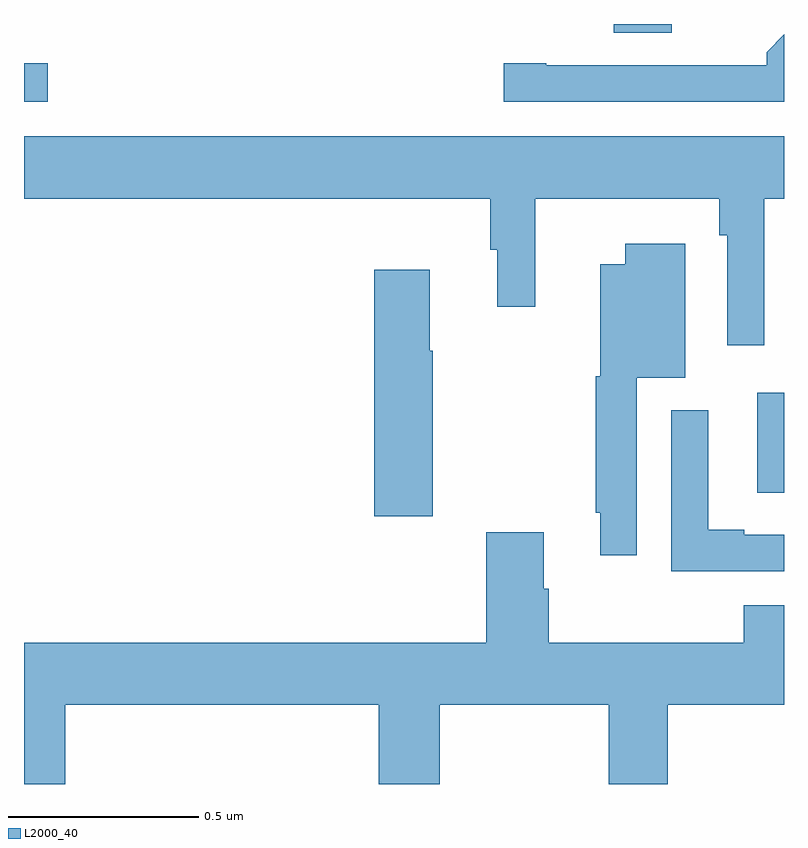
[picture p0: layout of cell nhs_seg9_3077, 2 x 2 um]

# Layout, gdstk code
import gdstk
lib = gdstk.Library(unit=1e-6, precision=1e-09)
def R(c, l, rs):  # rectangles x0, y0, x1, y1
    for r in rs: c.add(gdstk.rectangle(r[:2], r[2:], *l))
def P(c, l, *ps):  # polygons
    for p in ps: c.add(gdstk.Polygon(p, *l))
L2000_40 = (2000, 40)

nhs_seg9_3077 = lib.new_cell('nhs_seg9_3077')
R(nhs_seg9_3077, L2000_40, [(149.93,1242.266,150,1242.529), (148,1243.296,148.063,1243.397), (149.552,1243.477,149.704,1243.5)])
P(nhs_seg9_3077, L2000_40, [(150,1243.473),(149.954,1243.426),(149.954,1243.392),(149.374,1243.392),(149.374,1243.397),(149.262,1243.397),(149.262,1243.296),(150,1243.296)],
  [(149.948,1243.04),(150,1243.04),(150,1243.204),(148,1243.204),(148,1243.04),(149.227,1243.04),(149.227,1242.906),(149.246,1242.906),(149.246,1242.756),(149.346,1242.756),(149.346,1243.04),(149.83,1243.04),(149.83,1242.944),(149.85,1242.944),(149.85,1242.654),(149.948,1242.654)],
  [(149.613,1242.569),(149.74,1242.569),(149.74,1242.922),(149.582,1242.922),(149.582,1242.868),(149.516,1242.868),(149.516,1242.573),(149.505,1242.573),(149.505,1242.214),(149.516,1242.214),(149.516,1242.102),(149.613,1242.102)],
  [(149.076,1242.64),(149.068,1242.64),(149.068,1242.853),(148.922,1242.853),(148.922,1242.204),(149.076,1242.204)],
  [(150,1242.156),(149.896,1242.156),(149.896,1242.169),(149.8,1242.169),(149.8,1242.484),(149.703,1242.484),(149.703,1242.06),(150,1242.06)],
  [(148.109,1241.708),(148.934,1241.708),(148.934,1241.5),(149.094,1241.5),(149.094,1241.708),(149.539,1241.708),(149.539,1241.5),(149.694,1241.5),(149.694,1241.708),(150,1241.708),(150,1241.97),(149.894,1241.97),(149.894,1241.872),(149.381,1241.872),(149.381,1242.014),(149.368,1242.014),(149.368,1242.163),(149.216,1242.163),(149.216,1241.872),(148,1241.872),(148,1241.5),(148.109,1241.5)])

lib.write_gds('nhs_seg9_3077.gds')
